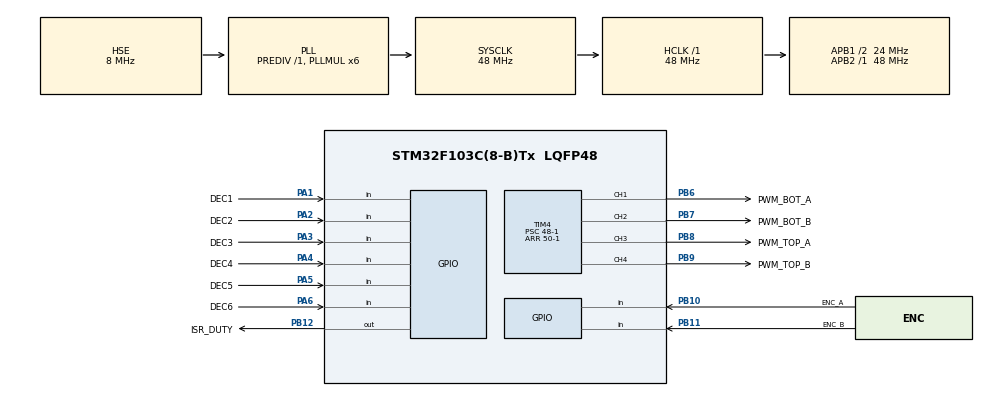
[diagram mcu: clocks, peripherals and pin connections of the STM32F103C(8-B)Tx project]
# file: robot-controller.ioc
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Mcu.Family=STM32F1
Mcu.Name=STM32F103C(8-B)Tx
Mcu.Package=LQFP48
NVIC.PriorityGroup=NVIC_PRIORITYGROUP_4
NVIC.TIM2_IRQn=true\:0\:0\:false\:false\:true\:true\:true\:true
PA1.GPIO_Label=DEC1
PA1.Signal=GPIO_Input
PA13.Mode=Serial_Wire
PA13.Signal=SYS_JTMS-SWDIO
PA14.Mode=Serial_Wire
PA14.Signal=SYS_JTCK-SWCLK
PA2.GPIO_Label=DEC2
PA2.Signal=GPIO_Input
PA3.GPIO_Label=DEC3
PA3.Signal=GPIO_Input
PA4.GPIO_Label=DEC4
PA4.Signal=GPIO_Input
PA5.GPIO_Label=DEC5
PA5.Signal=GPIO_Input
PA6.GPIO_Label=DEC6
PA6.Signal=GPIO_Input
PB10.GPIO_Label=ENC_A
PB10.Signal=GPIO_Input
PB11.GPIO_Label=ENC_B
PB11.Signal=GPIO_Input
PB12.GPIO_Label=ISR_DUTY
PB12.Signal=GPIO_Output
PB6.GPIO_Label=PWM_BOT_A
PB6.Signal=S_TIM4_CH1
PB7.GPIO_Label=PWM_BOT_B
PB7.Signal=S_TIM4_CH2
PB8.GPIO_Label=PWM_TOP_A
PB8.Signal=S_TIM4_CH3
PB9.GPIO_Label=PWM_TOP_B
PB9.Signal=S_TIM4_CH4
PD0-OSC_IN.Mode=HSE-External-Oscillator
PD0-OSC_IN.Signal=RCC_OSC_IN
PD1-OSC_OUT.Mode=HSE-External-Oscillator
PD1-OSC_OUT.Signal=RCC_OSC_OUT
ProjectManager.HeapSize=0x200
ProjectManager.StackSize=0x400
ProjectManager.TargetToolchain=STM32CubeIDE
RCC.AHBFreq_Value=48000000
RCC.APB1CLKDivider=RCC_HCLK_DIV2
RCC.APB1Freq_Value=24000000
RCC.APB1TimFreq_Value=48000000
RCC.APB2Freq_Value=48000000
RCC.APB2TimFreq_Value=48000000
RCC.HCLKFreq_Value=48000000
RCC.PLLMUL=RCC_PLL_MUL6
RCC.PLLSourceVirtual=RCC_PLLSOURCE_HSE
RCC.SYSCLKFreq_VALUE=48000000
RCC.SYSCLKSource=RCC_SYSCLKSOURCE_PLLCLK
RCC.USBFreq_Value=48000000
SH.S_TIM4_CH1.0=TIM4_CH1,PWM Generation1 CH1
SH.S_TIM4_CH2.0=TIM4_CH2,PWM Generation2 CH2
SH.S_TIM4_CH3.0=TIM4_CH3,PWM Generation3 CH3
SH.S_TIM4_CH4.0=TIM4_CH4,PWM Generation4 CH4
TIM2.Period=108-1
TIM2.Prescaler=48-1
TIM4.Channel-PWM\ Generation1\ CH1=TIM_CHANNEL_1
TIM4.Channel-PWM\ Generation2\ CH2=TIM_CHANNEL_2
TIM4.Channel-PWM\ Generation3\ CH3=TIM_CHANNEL_3
TIM4.Channel-PWM\ Generation4\ CH4=TIM_CHANNEL_4
TIM4.Period=50-1
TIM4.Prescaler=48-1
VP_TIM2_VS_ClockSourceINT.Mode=Internal
VP_TIM3_VS_ClockSourceINT.Mode=Internal
VP_TIM4_VS_ClockSourceINT.Mode=Internal
board=custom

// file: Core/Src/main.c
/* USER CODE BEGIN Header */
/**
  ******************************************************************************
  * @file           : main.c
  * @brief          : Main program body
  ******************************************************************************
  * @attention
  *
  * Copyright (c) 2024 STMicroelectronics.
  * All rights reserved.
  *
  * This software is licensed under terms that can be found in the LICENSE file
  * in the root directory of this software component.
  * If no LICENSE file comes with this software, it is provided AS-IS.
  *
  ******************************************************************************
  */
/* USER CODE END Header */
#include "main.h"

/* USER CODE BEGIN Includes */
#include "string.h"
#include "math.h"
/* USER CODE END Includes */

TIM_HandleTypeDef htim2;
TIM_HandleTypeDef htim3;
TIM_HandleTypeDef htim4;

/* USER CODE BEGIN PV */
//------------------------------PID------------------------------------------//
long prevT = 0; //keeps track of the time of the previous measurement

// Bottom motor PID constants
float kp_BOT = 1.2;//bottom motor proportional constant
float ki_BOT = 0;//bottom motor integral constant
float kd_BOT = 0;//bottom motor derivative constant
// Top motor PID constants
float kp_TOP = 1.2;//top motor proportional constant
float ki_TOP = 0;//top motor integral constant
float kd_TOP = 0;//top motor derivative constant

// motor PID variables
int pos_BOT, pos_TOP = 0; //motor position
int err_BOT, err_TOP; // motor position error
float errprev_BOT,errprev_TOP = 0; // motor previous position error
float deriv_BOT,deriv_TOP; // motor derivative of position
float derivFilt_BOT,derivFilt_TOP; // motor filtered derivative of position
float integ_BOT,integ_TOP = 0; // motor integral of position
float moveValue_BOT,moveValue_TOP; // motor move by value

float deltaT; //time difference

//------------------------------DRAWING------------------------------------------//
//drawing target shape of square
int state = 0; //state of the shape
int x_coords[4] = {0,0,7,7}; //x coordinates for bottom motor based on counts
int y_coords[4] = {0,1,1,0}; //y coordinates for top motor based on counts

//------------------------------FILTERING------------------------------------------//
//weighted sum filter variables
#define numSamples 5  //number of samples for filtering
float weightRaw[numSamples]; //raw weights
float weightNorm[numSamples]; //normalized weights
float weightSum = 0; //sum of the weights
int sampleCount = 0; //keeps track of the number of samples
//bottom motor filter
float dataFilt_BOT[numSamples]; //filtered data of the bottom motor
float dataFilt_TOP[numSamples];//filtered data of the top motor
float filtSum_BOT,filtSum_TOP = 0; //sum of filtered data motor

//------------------------------DECODER------------------------------------------//
unsigned long _lastIncReadTime;
unsigned long _lastDecReadTime;
int _pauseLength = 25000;
int _fastIncrement = 1;
volatile int encoder_TOP_pos = 0;//the position of the top motor based on the decoder
/* USER CODE END PV */

void SystemClock_Config(void);
static void MX_GPIO_Init(void);
static void MX_TIM2_Init(void);
static void MX_TIM4_Init(void);
static void MX_TIM3_Init(void);
/* USER CODE BEGIN PFP */
void filter_coeffs(void); //calculates the filter coefficients for the weighted filter
void weightedFilter(float data_BOT,float data_TOP); //filters the derivative of the position error for bot and top motor
void moveMotors(float moveValue_BOT,float moveValue_TOP); //moves the motors based on the PID values
uint8_t read_encoder_BOT(void);
void read_encoder_TOP(void);
long micros(void);
/* USER CODE END PFP */

int main(void)
{

  /* MCU Configuration--------------------------------------------------------*/

  /* Reset of all peripherals, Initializes the Flash interface and the Systick. */
  HAL_Init();

  /* Configure the system clock */
  SystemClock_Config();

  /* Initialize all configured peripherals */
  MX_GPIO_Init();
  MX_TIM2_Init();
  MX_TIM4_Init();
  MX_TIM3_Init();
  /* USER CODE BEGIN 2 */

  //Start timer of the ISR
  HAL_TIM_Base_Start_IT(&htim2);

  filter_coeffs(); //calculate the coefficients for the weighted sum filter
  memset(dataFilt_BOT, 0, sizeof(dataFilt_BOT)); //reset filtered data
  memset(dataFilt_TOP, 0, sizeof(dataFilt_TOP)); //reset filtered data

  //sets timer 2 to read microseconds
  __HAL_RCC_TIM2_CLK_ENABLE();
  TIM2->PSC = HAL_RCC_GetPCLK1Freq()/1000000 - 1;
  TIM2->CR1 = TIM_CR1_CEN;
  __HAL_TIM_SET_COUNTER(&htim2,0);
  /* USER CODE END 2 */

  /* Infinite loop */
  while (1)
  {

    /* USER CODE BEGIN 3 */

	  //move to the next vertex when there is a small position error in both motors
	  if ((err_BOT<1) && (err_BOT<1)){
		if (state==3){
			state = 0;//restart the shape
		}
		else state++; //increment the state to go to the next vertex
	  }

	  // time difference for the calculation of the position error derivative and integral
	  long currT = micros();//gets the current time

	  if (currT >= prevT) {// No overflow occurred
	      deltaT = ((float)(currT - prevT)) / (1.0e6);//gets the change in time from the last measurement
	  } else {// Overflow occurred
		  deltaT = ((float)((UINT16_MAX - prevT) + currT + 1)) / (1.0e6);
	  }
	  prevT = currT; //updates the previous time to the current time for the next measurement

	  //continuously get position values for the motors
	  pos_BOT = (int)read_encoder_BOT; //get current position from the decoder for the bot motor
	  pos_TOP = encoder_TOP_pos; //get current position from the decoder for the top motor

	  //calculate the error between the current position and the desired position
	  err_BOT = pos_BOT - x_coords[state]; //position error of the bot motor
	  err_TOP = pos_TOP - y_coords[state]; //position error of the top motor

	  //calculate the derivative of the position error using the previous position error and the change in time
	  deriv_BOT = (err_BOT - errprev_BOT) / (deltaT); // derivative of position error for the bot motor
	  deriv_TOP = (err_TOP - errprev_TOP) / (deltaT); // derivative of position error for the top motor
	  //filters the derivative of the position error for the top and bottom motor
	  weightedFilter(deriv_BOT, deriv_TOP);

	  //calculate the integral of the position error using the previous integral and the position error multiplied by the change in time
	  integ_BOT = integ_BOT + err_BOT * deltaT;  // integral
	  integ_TOP = integ_TOP + err_TOP * deltaT;

	  //updates the previous position error with the current one to prepare for the next measurement
	  errprev_BOT = err_BOT;
	  errprev_TOP = err_TOP;
  }
  /* USER CODE END 3 */
}

void SystemClock_Config(void)
{
  RCC_OscInitTypeDef RCC_OscInitStruct = {0};
  RCC_ClkInitTypeDef RCC_ClkInitStruct = {0};

  /** Initializes the RCC Oscillators according to the specified parameters
  * in the RCC_OscInitTypeDef structure.
  */
  RCC_OscInitStruct.OscillatorType = RCC_OSCILLATORTYPE_HSE;
  RCC_OscInitStruct.HSEState = RCC_HSE_ON;
  RCC_OscInitStruct.HSEPredivValue = RCC_HSE_PREDIV_DIV1;
  RCC_OscInitStruct.HSIState = RCC_HSI_ON;
  RCC_OscInitStruct.PLL.PLLState = RCC_PLL_ON;
  RCC_OscInitStruct.PLL.PLLSource = RCC_PLLSOURCE_HSE;
  RCC_OscInitStruct.PLL.PLLMUL = RCC_PLL_MUL6;
  if (HAL_RCC_OscConfig(&RCC_OscInitStruct) != HAL_OK)
  {
    Error_Handler();
  }

  /** Initializes the CPU, AHB and APB buses clocks
  */
  RCC_ClkInitStruct.ClockType = RCC_CLOCKTYPE_HCLK|RCC_CLOCKTYPE_SYSCLK
                              |RCC_CLOCKTYPE_PCLK1|RCC_CLOCKTYPE_PCLK2;
  RCC_ClkInitStruct.SYSCLKSource = RCC_SYSCLKSOURCE_PLLCLK;
  RCC_ClkInitStruct.AHBCLKDivider = RCC_SYSCLK_DIV1;
  RCC_ClkInitStruct.APB1CLKDivider = RCC_HCLK_DIV2;
  RCC_ClkInitStruct.APB2CLKDivider = RCC_HCLK_DIV1;

  if (HAL_RCC_ClockConfig(&RCC_ClkInitStruct, FLASH_LATENCY_1) != HAL_OK)
  {
    Error_Handler();
  }
}

static void MX_TIM2_Init(void)
{

  TIM_ClockConfigTypeDef sClockSourceConfig = {0};
  TIM_MasterConfigTypeDef sMasterConfig = {0};

  htim2.Instance = TIM2;
  htim2.Init.Prescaler = 48-1;
  htim2.Init.CounterMode = TIM_COUNTERMODE_UP;
  htim2.Init.Period = 108-1;
  htim2.Init.ClockDivision = TIM_CLOCKDIVISION_DIV1;
  htim2.Init.AutoReloadPreload = TIM_AUTORELOAD_PRELOAD_DISABLE;
  if (HAL_TIM_Base_Init(&htim2) != HAL_OK)
  {
    Error_Handler();
  }
  sClockSourceConfig.ClockSource = TIM_CLOCKSOURCE_INTERNAL;
  if (HAL_TIM_ConfigClockSource(&htim2, &sClockSourceConfig) != HAL_OK)
  {
    Error_Handler();
  }
  sMasterConfig.MasterOutputTrigger = TIM_TRGO_RESET;
  sMasterConfig.MasterSlaveMode = TIM_MASTERSLAVEMODE_DISABLE;
  if (HAL_TIMEx_MasterConfigSynchronization(&htim2, &sMasterConfig) != HAL_OK)
  {
    Error_Handler();
  }

}

static void MX_TIM3_Init(void)
{

  TIM_ClockConfigTypeDef sClockSourceConfig = {0};
  TIM_MasterConfigTypeDef sMasterConfig = {0};

  htim3.Instance = TIM3;
  htim3.Init.Prescaler = 0;
  htim3.Init.CounterMode = TIM_COUNTERMODE_UP;
  htim3.Init.Period = 65535;
  htim3.Init.ClockDivision = TIM_CLOCKDIVISION_DIV1;
  htim3.Init.AutoReloadPreload = TIM_AUTORELOAD_PRELOAD_DISABLE;
  if (HAL_TIM_Base_Init(&htim3) != HAL_OK)
  {
    Error_Handler();
  }
  sClockSourceConfig.ClockSource = TIM_CLOCKSOURCE_INTERNAL;
  if (HAL_TIM_ConfigClockSource(&htim3, &sClockSourceConfig) != HAL_OK)
  {
    Error_Handler();
  }
  sMasterConfig.MasterOutputTrigger = TIM_TRGO_RESET;
  sMasterConfig.MasterSlaveMode = TIM_MASTERSLAVEMODE_DISABLE;
  if (HAL_TIMEx_MasterConfigSynchronization(&htim3, &sMasterConfig) != HAL_OK)
  {
    Error_Handler();
  }

}

static void MX_TIM4_Init(void)
{

  TIM_ClockConfigTypeDef sClockSourceConfig = {0};
  TIM_MasterConfigTypeDef sMasterConfig = {0};
  TIM_OC_InitTypeDef sConfigOC = {0};

  htim4.Instance = TIM4;
  htim4.Init.Prescaler = 48-1;
  htim4.Init.CounterMode = TIM_COUNTERMODE_UP;
  htim4.Init.Period = 50-1;
  htim4.Init.ClockDivision = TIM_CLOCKDIVISION_DIV1;
  htim4.Init.AutoReloadPreload = TIM_AUTORELOAD_PRELOAD_DISABLE;
  if (HAL_TIM_Base_Init(&htim4) != HAL_OK)
  {
    Error_Handler();
  }
  sClockSourceConfig.ClockSource = TIM_CLOCKSOURCE_INTERNAL;
  if (HAL_TIM_ConfigClockSource(&htim4, &sClockSourceConfig) != HAL_OK)
  {
    Error_Handler();
  }
  if (HAL_TIM_PWM_Init(&htim4) != HAL_OK)
  {
    Error_Handler();
  }
  sMasterConfig.MasterOutputTrigger = TIM_TRGO_RESET;
  sMasterConfig.MasterSlaveMode = TIM_MASTERSLAVEMODE_DISABLE;
  if (HAL_TIMEx_MasterConfigSynchronization(&htim4, &sMasterConfig) != HAL_OK)
  {
    Error_Handler();
  }
  sConfigOC.OCMode = TIM_OCMODE_PWM1;
  sConfigOC.Pulse = 0;
  sConfigOC.OCPolarity = TIM_OCPOLARITY_HIGH;
  sConfigOC.OCFastMode = TIM_OCFAST_DISABLE;
  if (HAL_TIM_PWM_ConfigChannel(&htim4, &sConfigOC, TIM_CHANNEL_1) != HAL_OK)
  {
    Error_Handler();
  }
  if (HAL_TIM_PWM_ConfigChannel(&htim4, &sConfigOC, TIM_CHANNEL_2) != HAL_OK)
  {
    Error_Handler();
  }
  if (HAL_TIM_PWM_ConfigChannel(&htim4, &sConfigOC, TIM_CHANNEL_3) != HAL_OK)
  {
    Error_Handler();
  }
  if (HAL_TIM_PWM_ConfigChannel(&htim4, &sConfigOC, TIM_CHANNEL_4) != HAL_OK)
  {
    Error_Handler();
  }
  HAL_TIM_MspPostInit(&htim4);

}

static void MX_GPIO_Init(void)
{
  GPIO_InitTypeDef GPIO_InitStruct = {0};

  /* GPIO Ports Clock Enable */
  __HAL_RCC_GPIOD_CLK_ENABLE();
  __HAL_RCC_GPIOA_CLK_ENABLE();
  __HAL_RCC_GPIOB_CLK_ENABLE();

  /*Configure GPIO pin Output Level */
  HAL_GPIO_WritePin(ISR_DUTY_GPIO_Port, ISR_DUTY_Pin, GPIO_PIN_RESET);

  /*Configure GPIO pins : DEC1_Pin DEC2_Pin DEC3_Pin DEC4_Pin
                           DEC5_Pin DEC6_Pin */
  GPIO_InitStruct.Pin = DEC1_Pin|DEC2_Pin|DEC3_Pin|DEC4_Pin
                          |DEC5_Pin|DEC6_Pin;
  GPIO_InitStruct.Mode = GPIO_MODE_INPUT;
  GPIO_InitStruct.Pull = GPIO_NOPULL;
  HAL_GPIO_Init(GPIOA, &GPIO_InitStruct);

  /*Configure GPIO pins : ENC_A_Pin ENC_B_Pin */
  GPIO_InitStruct.Pin = ENC_A_Pin|ENC_B_Pin;
  GPIO_InitStruct.Mode = GPIO_MODE_INPUT;
  GPIO_InitStruct.Pull = GPIO_NOPULL;
  HAL_GPIO_Init(GPIOB, &GPIO_InitStruct);

  /*Configure GPIO pin : ISR_DUTY_Pin */
  GPIO_InitStruct.Pin = ISR_DUTY_Pin;
  GPIO_InitStruct.Mode = GPIO_MODE_OUTPUT_PP;
  GPIO_InitStruct.Pull = GPIO_NOPULL;
  GPIO_InitStruct.Speed = GPIO_SPEED_FREQ_LOW;
  HAL_GPIO_Init(ISR_DUTY_GPIO_Port, &GPIO_InitStruct);

}

/* USER CODE BEGIN 4 */

//HAL_TIM_PeriodElapsedCallback: Interrupt service routine that computes the PID value and updates the position of the motors
//htim: the timer that we're using for the ISR, timer2
void HAL_TIM_PeriodElapsedCallback(TIM_HandleTypeDef *htim)
{
  if (htim == &htim2 ) //check which timer was triggered
  {
	//turn on GPIO pin for ISR timing test
    HAL_GPIO_WritePin(ISR_DUTY_GPIO_Port, ISR_DUTY_Pin, GPIO_PIN_SET);

    //calculate the amount to move for bottom motor from current values
    moveValue_BOT = kp_BOT * err_BOT + kd_BOT * derivFilt_BOT + ki_BOT * integ_BOT;
    //calculate  the amount to move for top motor from current values
    moveValue_TOP = kp_TOP * err_TOP + kd_TOP * derivFilt_TOP + ki_TOP * integ_TOP;
    //move the motors
    moveMotors(moveValue_BOT,moveValue_TOP);
    //turn off GPIO pin for ISR timing test
    HAL_GPIO_WritePin(ISR_DUTY_GPIO_Port, ISR_DUTY_Pin, GPIO_PIN_RESET);
  }
}

//filter_coeffs: computes the filter coefficients needed for the weighted filter
void filter_coeffs(void){
  for (int n = 1; n <= numSamples; n++) { //calculates the coefficient for each sample number
    //gives the raw coefficient based on the sample number and number of samples
	weightRaw[n - 1] = exp(-4.0 * (float)(n - 1) / (float)(numSamples - 1));
    weightSum += weightRaw[n - 1]; //finds the sum of all the coefficients
  }
  //normalizes each of the coefficients with the sum of the coefficients
  for (int n = 0; n < numSamples; n++) {
    weightNorm[n] = weightRaw[n] / weightSum;
  }
}

//weightedFilter: a running average filter that filters the derivative of the position error
//data_BOT, data_TOP: the captured derivative of the position for the bottom motor and the top motor
void weightedFilter(float data_BOT,float data_TOP) {
  //remove oldest entry of the filtered data from sum to make room for new entry
  filtSum_BOT -= dataFilt_BOT[sampleCount]; //bottom motor filter
  filtSum_TOP -= dataFilt_TOP[sampleCount]; //top motor filter
  //update new entry empty spot with new data multiplied by its weight
  dataFilt_BOT[sampleCount] = data_BOT * weightNorm[sampleCount];
  dataFilt_TOP[sampleCount] = data_TOP * weightNorm[sampleCount];
  //add the new entry to the running sum
  filtSum_BOT += dataFilt_BOT[sampleCount];
  filtSum_TOP += dataFilt_TOP[sampleCount];
  //calculate the filtered data with the running sum and the total amount of samples
  derivFilt_BOT = filtSum_BOT / (float)numSamples;
  derivFilt_TOP = filtSum_TOP / (float)numSamples;
  //increment the sample count, which goes back to zero once we hit the maximum amount of samples
  sampleCount = (sampleCount + 1) % numSamples;
}

//moveMotors: moves the motors to the desired location by controlling pwm to motors
//moveValue_BOT, moveValue_TOP: takes values from the PID loop
void moveMotors(float moveValue_BOT,float moveValue_TOP){
	//takes the float value of the PID, makes it positive and maps it to a CCR value
	//max counts bottom motor is 7 and max counts top motor is 1
	//CCR value from 0-50 with 50 being 100% duty cycle
	//count of 1 corresponds to CCR of 10 and 20% duty cycle, which is min duty cycle for motor to move
	int motorSpeed_BOT = (uint32_t)fabs(moveValue_BOT*10);
	int motorSpeed_TOP = (uint32_t)fabs(moveValue_TOP*10);
	//constrain the CCR to be below 50 and 100% duty cycle
	if (motorSpeed_BOT > 50){
		motorSpeed_BOT = 50;
	}
	if (motorSpeed_TOP > 50){
		motorSpeed_TOP = 50;
	}
	//move the bottom motor
	if (moveValue_BOT>0){ //going forwards
		TIM4->CCR1 = motorSpeed_BOT; //PWM_BOT_A
		TIM4->CCR2 = 0; //PWM_BOT_B
	}
	else if(moveValue_BOT<0){ //going backwards
		TIM4->CCR1 = 0; //PWM_BOT_A
		TIM4->CCR2 = motorSpeed_BOT; //PWM_BOT_B
	}
	else{ //not moving
		TIM4->CCR1 = 0; //PWM_BOT_A
		TIM4->CCR2 = 0; //PWM_BOT_B
	}
	//move the top motor
	if (moveValue_TOP>0){ //going forwards
		TIM4->CCR3 = motorSpeed_TOP; //PWM_TOP_A
		TIM4->CCR4 = 0; //PWM_TOP_B
	}
	else if(moveValue_TOP<0){ //going backwards
		TIM4->CCR3 = 0; //PWM_TOP_A
		TIM4->CCR4 = motorSpeed_TOP; //PWM_TOP_B
	}
	else{ //not moving
		TIM4->CCR3 = 0; //PWM_TOP_A
		TIM4->CCR4 = 0;//PWM_TOP_B
	}
}

//reads the decoder circuit using pins
uint8_t read_encoder_BOT(void) {
    uint8_t binaryValue = 0;

    // Read the state of each GPIO pin and update the binary value
    binaryValue |= (HAL_GPIO_ReadPin(DEC1_GPIO_Port, DEC1_Pin) << 0);
    binaryValue |= (HAL_GPIO_ReadPin(DEC2_GPIO_Port, DEC2_Pin) << 1);
    binaryValue |= (HAL_GPIO_ReadPin(DEC3_GPIO_Port, DEC3_Pin) << 2);
    binaryValue |= (HAL_GPIO_ReadPin(DEC4_GPIO_Port, DEC4_Pin) << 3);
    binaryValue |= (HAL_GPIO_ReadPin(DEC5_GPIO_Port, DEC5_Pin) << 4);
    binaryValue |= (HAL_GPIO_ReadPin(DEC6_GPIO_Port, DEC6_Pin) << 5);

    return binaryValue;
}

void read_encoder_TOP(void) {
  // Encoder interrupt routine for both pins. Updates counter
  // if they are valid and have rotated a full indent
  int current_T, deltaT_Inc, deltaT_Dec;
  static uint8_t old_AB = 3;                                                                  // Lookup table index
  static int8_t encval = 0;                                                                   // Encoder value
  static const int8_t enc_states[] = { 0, -1, 1, 0, 1, 0, 0, -1, -1, 0, 0, 1, 0, 1, -1, 0 };  // Lookup table

  old_AB <<= 2;  // Remember previous state

  if (HAL_GPIO_ReadPin(ENC_A_GPIO_Port, ENC_A_Pin)) old_AB |= 0x02;  // Add current state of pin A
  if (HAL_GPIO_ReadPin(ENC_B_GPIO_Port, ENC_B_Pin)) old_AB |= 0x01;  // Add current state of pin B

  encval += enc_states[(old_AB & 0x0f)];

  // Update counter if encoder has rotated a full indent, that is at least 4 steps
  if (encval > 3) {  // Four steps forward
    int changevalue = 1;

    current_T = micros();
	if (current_T >= _lastIncReadTime) {// No overflow occurred
		deltaT_Inc = (int)(current_T - _lastIncReadTime);//gets the change in time from the last measurement
	} else {// Overflow occurred
		deltaT_Inc = (int)((UINT16_MAX - _lastIncReadTime) + current_T + 1);
	}

    if (deltaT_Inc < _pauseLength) {
      changevalue = _fastIncrement * changevalue;
    }
    _lastIncReadTime = micros();
    encoder_TOP_pos = encoder_TOP_pos + changevalue;  // Update counter
    encval = 0;
  }
  else if (encval < -3) {  // Four steps backward
    int changevalue = -1;

    current_T = micros();
	if (current_T >= _lastDecReadTime) {// No overflow occurred
		deltaT_Dec = (int)(current_T - _lastDecReadTime);//gets the change in time from the last measurement
	} else {// Overflow occurred
		deltaT_Dec = (int)((UINT16_MAX - _lastDecReadTime) + current_T + 1);
	}
    if (deltaT_Dec < _pauseLength) {
      changevalue = _fastIncrement * changevalue;
    }
    _lastDecReadTime = micros();
    encoder_TOP_pos = encoder_TOP_pos + changevalue;  // Update counter
    encval = 0;
  }
}

long micros(void){
	return __HAL_TIM_GET_COUNTER(&htim3);
}

/* USER CODE END 4 */

void Error_Handler(void)
{
  __disable_irq();
  while (1)
  {
  }
}
